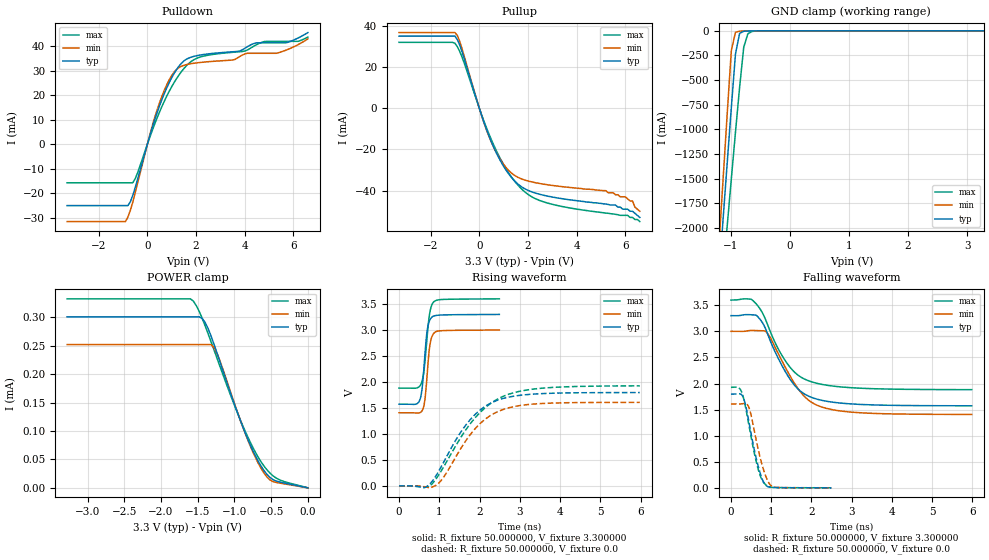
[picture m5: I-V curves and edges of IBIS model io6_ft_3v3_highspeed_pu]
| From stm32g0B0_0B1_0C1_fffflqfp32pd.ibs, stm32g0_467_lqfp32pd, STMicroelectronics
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|   Model io6_ft_3v3_highspeed_pu
[Model]  io6_ft_3v3_highspeed_pu
Model_type I/O
Polarity   Non-Inverting
Enable   Active-Low
Vinl =   0.990000V
Vinh =   2.310000V
Vmeas =  1.650000V
Cref =   50.000000pF
Rref =   100.000000M
Vref =   0.0V
C_comp   1.290400pF   1.272500pF   1.305600pF
[Temperature Range]   25.000000   -40.000000   0.125000k
[Pullup Reference]   3.300000V   3.000000V   3.600000V
[Pulldown Reference]   0.0V   0.0V   0.0V
[POWER Clamp Reference]   3.300000V   3.000000V   3.600000V
[GND Clamp Reference]   0.0V   0.0V   0.0V
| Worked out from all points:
|   slope of the pulldown table from 0 to 0.495 V, typ, clamps not added: 31.8 ohm
|   slope of the pullup table from 0 to 0.495 V, typ, clamps not added: 30.4 ohm
|   GND clamp passes 1 mA (typ) near -0.65 V on its own axis
|   rising waveform, R_fixture 50.000000, V_fixture 3.300000: 20-80 % time 115ps typ, 110ps min, 129ps max; typ from 1.57 V to 3.3 V
|   rising waveform, R_fixture 50.000000, V_fixture 0.0: 20-80 % time 937ps typ, 912ps min, 1.08ns max; typ from 0.002 V to 1.8 V
|   falling waveform, R_fixture 50.000000, V_fixture 3.300000: 20-80 % time 727ps typ, 757ps min, 727ps max; typ from 3.3 V to 1.57 V
|   falling waveform, R_fixture 50.000000, V_fixture 0.0: 20-80 % time 293ps typ, 290ps min, 303ps max; typ from 1.8 V to 0.002 V
[Pulldown]
|Voltage   I(typ)   I(min)   I(max)
-3.3V     -25.03mA   -31.54mA   -15.7mA
-900mV    -25.03mA   -31.54mA   -15.7mA
-700mV    -23.48mA   -26.95mA   -15.7mA
-500mV    -17.69mA   -19.75mA   -14.07mA
100mV     3.479mA    3.853mA    2.862mA
500mV     15.71mA    16.96mA    13.17mA
900mV     25.22mA    26.33mA    21.66mA
1.3V      31.91mA    31.32mA    28.29mA
2.2V      36.48mA    33.43mA    35.69mA
4.1V      39.76mA    37.15mA    38.42mA
5.3V      41.43mA    37.15mA    42.02mA
6.6V      45.6mA     43.04mA    43.74mA
[Pullup]
|Voltage   I(typ)   I(min)   I(max)
-3.3V     34.92mA    36.63mA    31.91mA
-1V       34.92mA    36.63mA    31.44mA
-800mV    30.46mA    32.23mA    27.37mA
100mV     -3.672mA   -3.825mA   -3.371mA
500mV     -16.4mA    -16.57mA   -15.42mA
1.1V      -30.05mA   -28.8mA    -29.38mA
1.7V      -37.83mA   -34.15mA   -38.73mA
2.8V      -42.64mA   -37.15mA   -46mA
5.2V      -46.5mA    -40mA      -50.9mA
6.3V      -50mA      -45mA      -53mA
6.4V      -51mA      -48mA      -54mA
6.6V      -53mA      -50mA      -55mA
[GND_clamp]
|Voltage   I(typ)   I(min)   I(max)
-3.3V     -9.61A     -9.635A    -9.699A
-1.2V     -2.493A    -2.184A    -2.958A
-1.13V    -1.917A    -1.512A    -2.469A
-1.06V    -1.345A    -845.6mA   -1.983A
-990mV    -779.8mA   -200.2mA   -1.503A
-920mV    -235.5mA   -14.18mA   -1.03A
-850mV    -26.06mA   -3.338mA   -574.2mA
-780mV    -4.499mA   -1.808mA   -166.4mA
-710mV    -1.722mA   -869.6uA   -29.45mA
-640mV    -806.7uA   -283.7uA   -6.281mA
3.28V     0A         0A         0A
[POWER_clamp]
|Voltage   I(typ)   I(min)   I(max)
-3.28V    300.8uA    252uA      332.4uA
-1.6V     300.8uA    252uA      332.4uA
-1.56V    300.8uA    252uA      328.4uA
-1.44V    297.9uA    252uA      298.3uA
-1.36V    280.4uA    252uA      271.4uA
-1.28V    252.9uA    246.9uA    243.1uA
-1.2V     222.5uA    224.3uA    214.5uA
-920mV    118.6uA    118.8uA    119.5uA
-680mV    47.6uA     44.33uA    54.63uA
-560mV    24.08uA    19.48uA    32.08uA
-480mV    14.89uA    11.29uA    21.67uA
0V        0A         0A         0A
[Ramp]
| variable   typ   min   max
dV/dt_r  1.07552/0.93429n   0.96306/0.90911n   1.14953/1.06800n
dV/dt_f  1.03422/0.72440n   0.95490/0.75402n   1.02804/0.72299n
R_load = 50.000000
[Rising Waveform]
R_fixture= 50.000000
V_fixture= 3.300000
V_fixture_min= 3.000000
V_fixture_max= 3.600000
|time   V(typ)   V(min)   V(max)
0s        1.573V     1.408V     1.883V
445.4ps   1.582V     1.403V     1.887V
555.6ps   1.779V     1.43V      1.977V
590.6ps   2.008V     1.474V     2.077V
630.6ps   2.39V      1.597V     2.296V
695.7ps   2.966V     2.108V     2.848V
750.8ps   3.166V     2.613V     3.264V
810.8ps   3.245V     2.859V     3.474V
1.006ns   3.287V     2.984V     3.583V
2.492ns   3.3V       3V         3.6V
[Rising Waveform]
R_fixture= 50.000000
V_fixture= 0.0
V_fixture_min= 0.0
V_fixture_max= 0.0
|time   V(typ)   V(min)   V(max)
0s        1.677mV    1.094mV    2.442mV
624.6ps   -34.37mV   -13.49mV   -19.67mV
780.8ps   51.26mV    -31.16mV   7.913mV
1.081ns   417.8mV    140.4mV    331.8mV
1.417ns   892.3mV    568.2mV    783.3mV
1.718ns   1.229V     934.1mV    1.143V
2.054ns   1.485V     1.228V     1.443V
2.45ns    1.651V     1.429V     1.672V
3.423ns   1.772V     1.58V      1.872V
5.982ns   1.797V     1.608V     1.926V
[Falling Waveform]
R_fixture= 50.000000
V_fixture= 3.300000
V_fixture_min= 3.000000
V_fixture_max= 3.600000
|time   V(typ)   V(min)   V(max)
0s        3.3V       3V         3.6V
504.5ps   3.317V     3.017V     3.612V
648.6ps   3.295V     3.014V     3.507V
864.9ps   3.04V      2.995V     3.217V
1.369ns   2.205V     2.284V     2.416V
1.646ns   1.911V     1.925V     2.173V
1.898ns   1.77V      1.7V       2.061V
2.33ns    1.667V     1.532V     1.974V
2.943ns   1.611V     1.455V     1.922V
5.982ns   1.573V     1.408V     1.883V
[Falling Waveform]
R_fixture= 50.000000
V_fixture= 0.0
V_fixture_min= 0.0
V_fixture_max= 0.0
|time   V(typ)   V(min)   V(max)
0s        1.797V     1.608V     1.926V
245.2ps   1.797V     1.61V      1.87V
330.3ps   1.682V     1.617V     1.664V
430.4ps   1.332V     1.567V     1.27V
500.5ps   1.041V     1.392V     976.9mV
665.7ps   449.3mV    779.2mV    390.1mV
860.9ps   53.61mV    234.1mV    62.16mV
961ps     14.42mV    73.21mV    20.61mV
1.076ns   7.249mV    16.62mV    8.974mV
2.492ns   1.677mV    1.094mV    2.442mV
